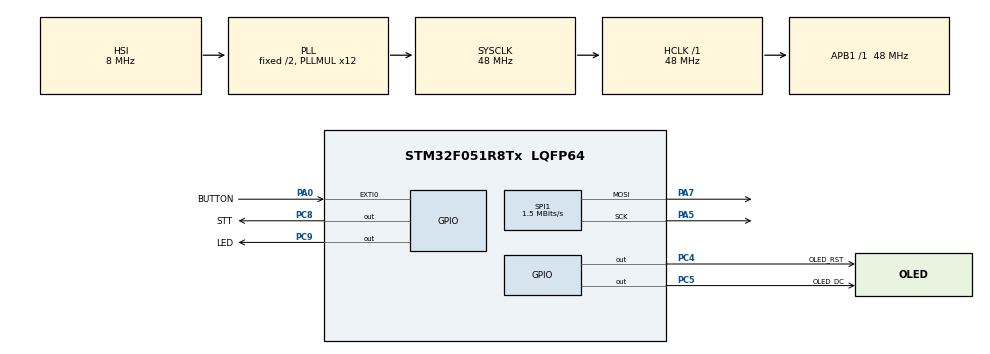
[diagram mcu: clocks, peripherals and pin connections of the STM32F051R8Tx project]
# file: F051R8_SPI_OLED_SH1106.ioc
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Mcu.Family=STM32F0
Dma.SPI1_TX.0.MemInc=DMA_MINC_ENABLE
Dma.SPI1_TX.0.PeriphInc=DMA_PINC_DISABLE
PA7.Mode=TX_Only_Simplex_Unidirect_Master
SPI1.VirtualType=VM_MASTER
PC9.GPIO_Label=LED
PA14.GPIO_Label=SWCLK
PA0.GPIO_Label=BUTTON
PC8.Signal=GPIO_Output
PC4.Signal=GPIO_Output
RCC.SYSCLKSource=RCC_SYSCLKSOURCE_PLLCLK
ProjectManager.StackSize=0x400
PC8.GPIO_Label=STT
PA13.Signal=SYS_SWDIO
ProjectManager.TargetToolchain=STM32CubeIDE
SPI1.Direction=SPI_DIRECTION_2LINES
Dma.SPI1_TX.0.PeriphDataAlignment=DMA_PDATAALIGN_BYTE
RCC.HCLKFreq_Value=48000000
Dma.SPI1_TX.0.Direction=DMA_MEMORY_TO_PERIPH
SPI1.CalculateBaudRate=1.5 MBits/s
RCC.AHBFreq_Value=48000000
PA5.Signal=SPI1_SCK
board=STM32F0DISCOVERY
RCC.PLLMUL=RCC_PLL_MUL12
NVIC.SPI1_IRQn=true\:0\:0\:false\:false\:true\:true\:true
PC4.GPIO_Label=OLED_RST
SPI1.Mode=SPI_MODE_MASTER
PA14.Mode=Serial_Wire
PA0.GPIO_ModeDefaultEXTI=GPIO_MODE_EVT_RISING
SPI1.DataSize=SPI_DATASIZE_8BIT
Dma.SPI1_TX.0.Instance=DMA1_Channel3
PA13.Mode=Serial_Wire
Mcu.Name=STM32F051R8Tx
PA13.GPIO_Label=SWDIO
PA0.Signal=GPXTI0
Dma.SPI1_TX.0.Mode=DMA_NORMAL
RCC.SYSCLKFreq_VALUE=48000000
Mcu.Package=LQFP64
PC5.GPIO_Label=OLED_DC
PA14.Signal=SYS_SWCLK
ProjectManager.HeapSize=0x200
Dma.SPI1_TX.0.Priority=DMA_PRIORITY_LOW
Dma.SPI1_TX.0.MemDataAlignment=DMA_MDATAALIGN_BYTE
NVIC.DMA1_Channel2_3_IRQn=true\:0\:0\:false\:false\:true\:false\:true
RCC.APB1TimFreq_Value=48000000
PC5.Signal=GPIO_Output
PC9.Signal=GPIO_Output
Dma.Request0=SPI1_TX
RCC.APB1Freq_Value=48000000
SPI1.BaudRatePrescaler=SPI_BAUDRATEPRESCALER_32
PA5.Mode=TX_Only_Simplex_Unidirect_Master
PA7.Signal=SPI1_MOSI

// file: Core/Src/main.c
/* USER CODE BEGIN Header */
/**
  ******************************************************************************
  * @file           : main.c
  * @brief          : Main program body
  ******************************************************************************
  * @attention
  *
  * <h2><center>&copy; Copyright (c) 2021 STMicroelectronics.
  * All rights reserved.</center></h2>
  *
  * This software component is licensed by ST under BSD 3-Clause license,
  * the "License"; You may not use this file except in compliance with the
  * License. You may obtain a copy of the License at:
  *                        opensource.org/licenses/BSD-3-Clause
  *
  ******************************************************************************
  */
/* USER CODE END Header */
#include "main.h"

/* USER CODE BEGIN Includes */
#include <stdio.h>
#include <string.h>
#include "sh1106.h"
#include "test_sh1106.h"
/* USER CODE END Includes */

/* USER CODE BEGIN PTD */
//#define USE_SPI_POLLING
//#define USE_SPI_IT
#define USE_SPI_DMA
/* USER CODE END PTD */

SPI_HandleTypeDef hspi1;
DMA_HandleTypeDef hdma_spi1_tx;

/* USER CODE BEGIN PV */
char message[16]; // xxx\0
char fps[] = "fps";

// 'Frame1', 80x32px
const unsigned char Frame1 [] = {
  0x00, 0x00, 0x00, 0x00, 0x00, 0x00, 0x00, 0x00, 0x00, 0x00, 0x00, 0x00, 0x00, 0x00, 0x00, 0x00,
  0x00, 0x00, 0x00, 0x00, 0x00, 0x00, 0x00, 0x00, 0x00, 0x00, 0x00, 0x00, 0x00, 0x00, 0x00, 0x00,
  0x00, 0x00, 0x00, 0x00, 0x00, 0x00, 0x00, 0x00, 0x00, 0x00, 0x00, 0x00, 0x00, 0x00, 0x00, 0x00,
  0x00, 0x00, 0x00, 0x00, 0x00, 0x00, 0x00, 0x00, 0x00, 0x00, 0x00, 0x00, 0x00, 0x00, 0x00, 0x00,
  0x00, 0x00, 0x00, 0x00, 0x00, 0x00, 0x00, 0x00, 0x00, 0x00, 0x00, 0x00, 0x00, 0x00, 0x00, 0x00,
  0x00, 0xff, 0xc0, 0x00, 0x00, 0x00, 0x00, 0x00, 0x00, 0x00, 0x00, 0x00, 0xf8, 0x00, 0x00, 0x00,
  0x00, 0xfe, 0x00, 0x00, 0x00, 0x00, 0x1e, 0x00, 0x00, 0x00, 0x01, 0x83, 0x80, 0x00, 0x00, 0x00,
  0x07, 0x00, 0x00, 0x00, 0x03, 0x00, 0xc0, 0x00, 0x00, 0x00, 0x01, 0xc0, 0x00, 0x00, 0x03, 0x0c,
  0x40, 0x00, 0x00, 0x00, 0x00, 0xff, 0xff, 0xff, 0xe1, 0x0c, 0x60, 0x00, 0x00, 0x00, 0x00, 0xf0,
  0x00, 0x1f, 0xff, 0x80, 0x20, 0x00, 0x00, 0x00, 0x01, 0xe0, 0x00, 0x01, 0xf9, 0xe0, 0x20, 0x00,
  0x00, 0x00, 0x03, 0xc0, 0x00, 0x00, 0xcc, 0x78, 0x60, 0x00, 0x00, 0x03, 0xe7, 0x80, 0x00, 0x00,
  0x64, 0x1f, 0xc0, 0x00, 0x00, 0x0e, 0xff, 0x00, 0x00, 0x00, 0x66, 0x00, 0x00, 0x00, 0x00, 0x1c,
  0x0e, 0x00, 0x00, 0x00, 0x33, 0xf0, 0x00, 0x00, 0x00, 0x30, 0xf8, 0x00, 0x00, 0x00, 0x18, 0x1f,
  0xf0, 0x00, 0x00, 0x7f, 0xf0, 0x00, 0x00, 0x00, 0x08, 0x00, 0x00, 0x00, 0x01, 0xfc, 0x00, 0x00,
  0x00, 0x00, 0x0c, 0x00, 0x00, 0x00, 0x03, 0x80, 0x00, 0x00, 0x00, 0x00, 0x06, 0x00, 0x00, 0x00,
  0x07, 0x00, 0x00, 0x00, 0x00, 0x00, 0x03, 0x00, 0x00, 0x00, 0x0e, 0x00, 0x00, 0x00, 0x00, 0x00,
  0x01, 0x86, 0x00, 0x00, 0x0c, 0x00, 0x00, 0x00, 0x00, 0x00, 0x00, 0xcc, 0x00, 0x00, 0x00, 0x00,
  0x00, 0x00, 0x00, 0x00, 0x00, 0x78, 0x00, 0x00, 0x00, 0x00, 0x00, 0x00, 0x00, 0x00, 0x00, 0x00,
  0x00, 0x00, 0x00, 0x00, 0x00, 0x00, 0x00, 0x00, 0x00, 0x00, 0x00, 0x00, 0x00, 0x00, 0x00, 0x00,
  0x00, 0x00, 0x00, 0x00, 0x00, 0x00, 0x00, 0x00, 0x00, 0x00, 0x00, 0x00, 0x00, 0x00, 0x00, 0x00
};
// 'Frame2', 80x32px
const unsigned char Frame2 [] = {
  0x00, 0x00, 0x00, 0x00, 0x00, 0x00, 0x00, 0x00, 0x00, 0x00, 0x00, 0x00, 0x00, 0x00, 0x00, 0x00,
  0x00, 0x00, 0x00, 0x00, 0x00, 0x00, 0x00, 0x00, 0x00, 0x00, 0x00, 0x00, 0x00, 0x00, 0x00, 0x00,
  0x00, 0x00, 0x00, 0x00, 0x00, 0x00, 0x00, 0x00, 0x00, 0x00, 0x00, 0x00, 0x00, 0x00, 0x00, 0x00,
  0x00, 0x00, 0x00, 0x00, 0x00, 0x00, 0x00, 0x00, 0x00, 0x00, 0x00, 0x00, 0x00, 0x00, 0x00, 0x00,
  0x00, 0x00, 0x00, 0x00, 0x00, 0x00, 0x00, 0x3f, 0xc0, 0x00, 0x00, 0x00, 0x00, 0x00, 0x00, 0x00,
  0x00, 0x70, 0xf8, 0x00, 0x00, 0x00, 0x00, 0x00, 0x00, 0x00, 0x00, 0x00, 0x3c, 0x00, 0x00, 0x00,
  0x00, 0x00, 0x00, 0x00, 0x00, 0x00, 0x0e, 0x00, 0x00, 0x00, 0x03, 0x80, 0x00, 0x00, 0x00, 0x00,
  0x03, 0x80, 0x00, 0x00, 0x0f, 0xf0, 0x00, 0x00, 0x00, 0x00, 0x01, 0xc0, 0x00, 0x00, 0x08, 0x18,
  0x00, 0x00, 0x00, 0x00, 0x00, 0xe0, 0x00, 0x00, 0x18, 0x0c, 0x00, 0x00, 0x00, 0x00, 0x00, 0xfe,
  0x00, 0x00, 0x18, 0x66, 0x00, 0x00, 0x00, 0x00, 0x00, 0xdf, 0xf8, 0x00, 0x08, 0x66, 0x00, 0x00,
  0x00, 0x00, 0x01, 0xb8, 0xff, 0xff, 0xfc, 0x02, 0x00, 0x00, 0x00, 0x00, 0x01, 0xb0, 0x01, 0xfe,
  0x06, 0x02, 0x00, 0x00, 0x00, 0x00, 0x03, 0x60, 0x00, 0x32, 0x03, 0x86, 0x00, 0x00, 0x00, 0x03,
  0xff, 0xc0, 0x00, 0x33, 0x80, 0xfc, 0x00, 0x00, 0x00, 0x07, 0x07, 0x80, 0x00, 0x10, 0xe0, 0x01,
  0x00, 0x00, 0x00, 0x7f, 0xff, 0x00, 0x00, 0x10, 0x38, 0x03, 0x00, 0x00, 0x00, 0x7f, 0xfe, 0x00,
  0x00, 0x18, 0x0f, 0x86, 0x00, 0x00, 0x00, 0xc8, 0x00, 0x00, 0x00, 0x08, 0x00, 0xfc, 0x00, 0x00,
  0x01, 0x80, 0x00, 0x00, 0x00, 0x08, 0x00, 0x00, 0x00, 0x00, 0x03, 0x00, 0x00, 0x00, 0x00, 0x0c,
  0x00, 0x00, 0x00, 0x00, 0x02, 0x00, 0x00, 0x00, 0x00, 0x04, 0x00, 0x00, 0x00, 0x00, 0x00, 0x00,
  0x00, 0x00, 0x00, 0x06, 0x00, 0x00, 0x00, 0x00, 0x00, 0x00, 0x00, 0x00, 0x00, 0x02, 0x00, 0x00,
  0x00, 0x00, 0x00, 0x00, 0x00, 0x00, 0x00, 0x03, 0x06, 0x00, 0x00, 0x00, 0x00, 0x00, 0x00, 0x00,
  0x00, 0x01, 0x8c, 0x00, 0x00, 0x00, 0x00, 0x00, 0x00, 0x00, 0x00, 0x00, 0xf8, 0x00, 0x00, 0x00
};
// 'Frame3', 80x32px
const unsigned char Frame3 [] = {
  0x00, 0x00, 0x00, 0x00, 0x00, 0x00, 0x00, 0x00, 0x00, 0x00, 0x00, 0x00, 0x00, 0x00, 0x00, 0x00,
  0x00, 0x00, 0x00, 0x00, 0x00, 0x00, 0x00, 0x00, 0x00, 0x00, 0x00, 0x00, 0x00, 0x00, 0x00, 0x00,
  0x00, 0x00, 0x00, 0x00, 0x00, 0x00, 0x00, 0x00, 0x00, 0x00, 0x00, 0x00, 0x00, 0x00, 0x00, 0x00,
  0x00, 0x00, 0x00, 0x00, 0x00, 0x00, 0x00, 0x00, 0x00, 0x00, 0x00, 0x00, 0x00, 0x00, 0xfe, 0x00,
  0x00, 0x00, 0x00, 0x00, 0x00, 0x00, 0x00, 0x00, 0x0f, 0x80, 0x00, 0x00, 0x00, 0x00, 0x00, 0x00,
  0x00, 0x00, 0x01, 0xe0, 0x00, 0x00, 0x00, 0x00, 0x00, 0x00, 0x00, 0x00, 0x00, 0x70, 0x00, 0x00,
  0x00, 0x00, 0x00, 0x00, 0x00, 0x00, 0x00, 0x3c, 0x00, 0x00, 0x00, 0x00, 0x00, 0x00, 0x00, 0x00,
  0x00, 0x0e, 0x00, 0x00, 0x07, 0xc0, 0x00, 0x00, 0x00, 0x00, 0x00, 0x07, 0x80, 0x00, 0x0c, 0x30,
  0x00, 0x00, 0x00, 0x00, 0x00, 0x03, 0xc0, 0x00, 0x10, 0x08, 0x00, 0x00, 0x00, 0x00, 0x00, 0x02,
  0xf0, 0x00, 0x10, 0x04, 0x00, 0x00, 0x00, 0x00, 0x00, 0x02, 0xbe, 0x00, 0x18, 0x66, 0x00, 0x00,
  0x00, 0x00, 0x00, 0x07, 0x87, 0xc0, 0x08, 0x62, 0x00, 0x00, 0x00, 0x00, 0x00, 0x05, 0x00, 0xff,
  0xfc, 0x02, 0x00, 0x00, 0x00, 0x00, 0x00, 0x05, 0x00, 0x1f, 0x06, 0x02, 0x00, 0x00, 0x00, 0x00,
  0x00, 0x0e, 0x00, 0x09, 0x03, 0x86, 0x00, 0x00, 0x00, 0x00, 0x3f, 0xfe, 0x00, 0x09, 0x00, 0xfc,
  0x00, 0x00, 0x00, 0x00, 0x6f, 0xfc, 0x00, 0x19, 0x80, 0x00, 0x00, 0x00, 0x00, 0x00, 0x58, 0x00,
  0x00, 0x10, 0x80, 0x00, 0x00, 0x00, 0x00, 0x00, 0xe0, 0x00, 0x00, 0x10, 0x80, 0x00, 0x00, 0x00,
  0x00, 0x00, 0xc0, 0x00, 0x00, 0x30, 0xc0, 0x00, 0x00, 0x00, 0x00, 0x01, 0x80, 0x00, 0x00, 0x20,
  0x70, 0x00, 0x00, 0x00, 0x00, 0x00, 0x00, 0x00, 0x00, 0x20, 0x1c, 0x60, 0x00, 0x00, 0x00, 0x00,
  0x00, 0x00, 0x00, 0x60, 0x07, 0xc0, 0x00, 0x00, 0x00, 0x00, 0x00, 0x00, 0x00, 0x40, 0x00, 0x00,
  0x00, 0x00, 0x00, 0x00, 0x00, 0x00, 0x00, 0x40, 0x00, 0x00, 0x00, 0x00, 0x00, 0x00, 0x00, 0x00,
  0x00, 0x6e, 0x00, 0x00, 0x00, 0x00, 0x00, 0x00, 0x00, 0x00, 0x00, 0x30, 0x00, 0x00, 0x00, 0x00
};
// 'Frame4', 80x32px
const unsigned char Frame4 [] = {
  0x00, 0x00, 0x00, 0x00, 0x00, 0x00, 0x00, 0x00, 0x00, 0x00, 0x00, 0x00, 0x00, 0x00, 0x00, 0x00,
  0x00, 0x00, 0x00, 0x00, 0x00, 0x00, 0x00, 0x00, 0x00, 0x00, 0x00, 0x00, 0x00, 0x00, 0x00, 0x00,
  0x00, 0x00, 0x00, 0x00, 0x00, 0x00, 0x00, 0x00, 0x00, 0x00, 0x00, 0x00, 0x00, 0x00, 0x00, 0x00,
  0x00, 0x00, 0x00, 0x00, 0x00, 0x00, 0x00, 0x00, 0x00, 0x00, 0x00, 0x00, 0x00, 0x00, 0x00, 0x00,
  0x00, 0x00, 0x00, 0x00, 0x00, 0x00, 0x00, 0x00, 0x03, 0x80, 0x00, 0x00, 0x00, 0x00, 0x00, 0x00,
  0x00, 0x00, 0x01, 0x80, 0x00, 0x00, 0x00, 0x00, 0x00, 0x00, 0x00, 0x00, 0x00, 0xe0, 0x00, 0x00,
  0x00, 0x00, 0x00, 0x00, 0x00, 0x00, 0x00, 0x38, 0x00, 0x00, 0x00, 0x00, 0x00, 0x00, 0x00, 0x00,
  0x00, 0x0e, 0x00, 0x00, 0x00, 0x00, 0x00, 0x00, 0x00, 0x00, 0x00, 0x03, 0x80, 0x00, 0x07, 0xe0,
  0x00, 0x00, 0x00, 0x00, 0x00, 0x00, 0xf0, 0x00, 0x0c, 0x38, 0x00, 0x00, 0x00, 0x00, 0x00, 0x00,
  0x3f, 0x00, 0x18, 0x0c, 0x00, 0x00, 0x00, 0x00, 0x00, 0x00, 0x0f, 0xe0, 0x10, 0x66, 0x00, 0x00,
  0x00, 0x00, 0x00, 0x00, 0x0c, 0x3e, 0x10, 0x62, 0x00, 0x00, 0x00, 0x00, 0x00, 0x00, 0x0c, 0x07,
  0xf0, 0x02, 0x00, 0x00, 0x00, 0x00, 0x00, 0x00, 0x0e, 0x00, 0xd8, 0x02, 0x00, 0x00, 0x00, 0x00,
  0x00, 0x00, 0x0a, 0x03, 0xce, 0x06, 0x00, 0x00, 0x00, 0x00, 0x00, 0x00, 0x0a, 0x06, 0x83, 0x84,
  0x00, 0x00, 0x00, 0x00, 0x00, 0x00, 0x7e, 0x0d, 0x80, 0x78, 0x00, 0x00, 0x00, 0x00, 0x00, 0x01,
  0xcc, 0x39, 0x00, 0x00, 0x00, 0x00, 0x00, 0x00, 0x00, 0x03, 0xf8, 0x61, 0x00, 0x00, 0x00, 0x00,
  0x00, 0x00, 0x00, 0x0f, 0x80, 0xc3, 0x00, 0x00, 0x00, 0x00, 0x00, 0x00, 0x00, 0x09, 0x03, 0x82,
  0x00, 0x00, 0x00, 0x00, 0x00, 0x00, 0x00, 0x00, 0x06, 0x02, 0x00, 0x00, 0x00, 0x00, 0x00, 0x00,
  0x00, 0x00, 0x0c, 0x02, 0x00, 0x00, 0x00, 0x00, 0x00, 0x00, 0x00, 0x00, 0x38, 0x02, 0x00, 0x00,
  0x00, 0x00, 0x00, 0x00, 0x00, 0x00, 0x70, 0x03, 0x00, 0x00, 0x00, 0x00, 0x00, 0x00, 0x00, 0x00,
  0x60, 0x01, 0x80, 0x00, 0x00, 0x00, 0x00, 0x00, 0x00, 0x00, 0x78, 0x00, 0xe0, 0x00, 0x00, 0x00
};
// 'Frame5', 80x32px
const unsigned char Frame5 [] = {
  0x00, 0x00, 0x00, 0x00, 0x00, 0x00, 0x00, 0x00, 0x00, 0x00, 0x00, 0x00, 0x00, 0x00, 0x00, 0x00,
  0x00, 0x00, 0x00, 0x00, 0x00, 0x00, 0x00, 0x00, 0x00, 0x00, 0x00, 0x00, 0x00, 0x00, 0x00, 0x00,
  0x00, 0x00, 0x00, 0x00, 0x00, 0x00, 0x00, 0x00, 0x00, 0x00, 0x00, 0x00, 0x00, 0x00, 0x00, 0x00,
  0x00, 0x00, 0x00, 0x00, 0x00, 0x00, 0x00, 0x00, 0x00, 0x00, 0x00, 0x00, 0x00, 0x00, 0x00, 0x00,
  0x00, 0x00, 0x00, 0x00, 0x00, 0x00, 0x00, 0x00, 0x00, 0x00, 0x00, 0x00, 0x00, 0x00, 0x00, 0x00,
  0x00, 0x00, 0x00, 0x00, 0x00, 0x00, 0x00, 0x00, 0x00, 0x00, 0x00, 0x00, 0x00, 0x00, 0x00, 0x00,
  0x00, 0x00, 0x00, 0x00, 0x00, 0x00, 0x00, 0x00, 0x00, 0x00, 0x00, 0x00, 0x00, 0x00, 0x00, 0x00,
  0x00, 0x00, 0x00, 0x00, 0x00, 0x00, 0x00, 0x00, 0x00, 0x00, 0x08, 0x00, 0x00, 0x00, 0x03, 0xf8,
  0x00, 0x00, 0x00, 0x00, 0x0c, 0x00, 0x00, 0xff, 0x0c, 0x06, 0x00, 0x00, 0x00, 0x00, 0x04, 0x00,
  0x03, 0x83, 0xc8, 0x03, 0x00, 0x00, 0x00, 0x00, 0x03, 0x00, 0x06, 0x00, 0xf8, 0x19, 0x00, 0x00,
  0x00, 0x00, 0x01, 0xc0, 0x0c, 0x00, 0xd8, 0x19, 0x80, 0x00, 0x00, 0x00, 0x00, 0x70, 0x18, 0x00,
  0x88, 0x00, 0x80, 0x00, 0x00, 0x00, 0x00, 0x1f, 0xf8, 0x00, 0x8e, 0x00, 0x80, 0x00, 0x00, 0x00,
  0x00, 0x00, 0x1c, 0x01, 0x83, 0x07, 0x00, 0x00, 0x00, 0x00, 0x00, 0x00, 0x0f, 0x01, 0x00, 0xfc,
  0x00, 0x00, 0x00, 0x00, 0x00, 0x00, 0x07, 0xc7, 0x00, 0x00, 0x00, 0x00, 0x00, 0x00, 0x00, 0x00,
  0x02, 0x5e, 0x00, 0x00, 0x00, 0x00, 0x00, 0x00, 0x00, 0x00, 0x03, 0x56, 0x00, 0x00, 0x00, 0x00,
  0x00, 0x00, 0x00, 0x00, 0x01, 0x76, 0x00, 0x00, 0x00, 0x00, 0x00, 0x00, 0x00, 0x00, 0x01, 0xe4,
  0x00, 0x00, 0x00, 0x00, 0x00, 0x00, 0x00, 0x00, 0x01, 0x8c, 0x00, 0x00, 0x00, 0x00, 0x00, 0x00,
  0x00, 0x00, 0x03, 0x08, 0x00, 0x00, 0x00, 0x00, 0x00, 0x00, 0x00, 0x00, 0x06, 0x08, 0x00, 0x00,
  0x00, 0x00, 0x00, 0x00, 0x00, 0x00, 0x04, 0x08, 0x00, 0x00, 0x00, 0x00, 0x00, 0x00, 0x00, 0x00,
  0x0c, 0x08, 0x00, 0x00, 0x00, 0x00, 0x00, 0x00, 0x00, 0x00, 0x08, 0x00, 0x00, 0x00, 0x00, 0x00
};
// 'Frame6', 80x32px
const unsigned char Frame6 [] = {
  0x00, 0x00, 0x00, 0x00, 0x00, 0x00, 0x00, 0x00, 0x00, 0x00, 0x00, 0x00, 0x00, 0x00, 0x00, 0x00,
  0x00, 0x00, 0x00, 0x00, 0x00, 0x00, 0x00, 0x00, 0x00, 0x00, 0x00, 0x00, 0x00, 0x00, 0x00, 0x00,
  0x00, 0x00, 0x00, 0x00, 0x00, 0x00, 0x00, 0x00, 0x00, 0x00, 0x00, 0x00, 0x00, 0x00, 0x00, 0x00,
  0x00, 0x00, 0x00, 0x00, 0x00, 0x00, 0x00, 0x00, 0x00, 0x00, 0x00, 0x00, 0x00, 0x00, 0x00, 0x00,
  0x00, 0x00, 0x00, 0x00, 0x00, 0x00, 0x00, 0x00, 0x00, 0x00, 0x00, 0x00, 0x00, 0x00, 0x00, 0x00,
  0x00, 0x00, 0x00, 0x00, 0x3f, 0x00, 0x00, 0x00, 0x00, 0x00, 0x00, 0x00, 0x00, 0x00, 0x61, 0xc0,
  0x00, 0x00, 0x00, 0x00, 0x00, 0x00, 0x00, 0x00, 0x80, 0x60, 0x00, 0x00, 0x00, 0x00, 0x00, 0x00,
  0x00, 0x01, 0x00, 0x30, 0xff, 0x00, 0x00, 0x00, 0x00, 0x00, 0x00, 0x02, 0x00, 0x19, 0x81, 0xc0,
  0x00, 0x00, 0x00, 0x00, 0x00, 0x02, 0x00, 0x1f, 0x00, 0x60, 0x00, 0x00, 0x00, 0x00, 0x00, 0x06,
  0x00, 0x7e, 0x06, 0x20, 0x00, 0x00, 0x00, 0x00, 0x00, 0x04, 0x00, 0xd2, 0x06, 0x20, 0x00, 0x00,
  0x00, 0x10, 0x00, 0x08, 0x01, 0x92, 0x00, 0x60, 0x00, 0x00, 0x00, 0x10, 0x00, 0x08, 0x01, 0x33,
  0x00, 0xc0, 0x00, 0x00, 0x00, 0x18, 0x00, 0x18, 0x03, 0x61, 0xe3, 0x00, 0x00, 0x00, 0x00, 0x0c,
  0x00, 0x10, 0x03, 0xc0, 0x3c, 0x00, 0x00, 0x00, 0x00, 0x06, 0x00, 0x1f, 0x86, 0xc0, 0x00, 0x00,
  0x00, 0x00, 0x00, 0x03, 0x00, 0x7c, 0xfe, 0x80, 0x00, 0x00, 0x00, 0x00, 0x00, 0x01, 0xc1, 0xc7,
  0xe5, 0x80, 0x00, 0x00, 0x00, 0x00, 0x00, 0x00, 0x7f, 0x80, 0x3f, 0x00, 0x00, 0x00, 0x00, 0x00,
  0x00, 0x00, 0x00, 0x00, 0x1b, 0x99, 0x00, 0x00, 0x00, 0x00, 0x00, 0x00, 0x00, 0x00, 0x3e, 0xf3,
  0x00, 0x00, 0x00, 0x00, 0x00, 0x00, 0x00, 0x00, 0x37, 0xc6, 0x00, 0x00, 0x00, 0x00, 0x00, 0x00,
  0x00, 0x00, 0xdb, 0xec, 0x00, 0x00, 0x00, 0x00, 0x00, 0x00, 0x00, 0x00, 0xf0, 0xb8, 0x00, 0x00,
  0x00, 0x00, 0x00, 0x00, 0x00, 0x01, 0x60, 0x00, 0x00, 0x00, 0x00, 0x00, 0x00, 0x00, 0x00, 0x03,
  0x40, 0x00, 0x00, 0x00, 0x00, 0x00, 0x00, 0x00, 0x00, 0x03, 0x80, 0x00, 0x00, 0x00, 0x00, 0x00
};
// 'Frame7', 80x32px
const unsigned char Frame7 [] = {
  0x00, 0x00, 0x00, 0x00, 0x00, 0x00, 0x00, 0x00, 0x00, 0x00, 0x00, 0x00, 0x00, 0x00, 0x00, 0x00,
  0x00, 0x00, 0x00, 0x00, 0x00, 0x00, 0x00, 0x00, 0x00, 0x00, 0x00, 0x00, 0x00, 0x00, 0x00, 0x00,
  0x00, 0x00, 0x00, 0x00, 0x00, 0x00, 0x00, 0x00, 0x00, 0x00, 0x00, 0x00, 0x00, 0x00, 0x00, 0x00,
  0x00, 0x00, 0x00, 0x00, 0x00, 0x00, 0x00, 0x00, 0x00, 0x00, 0x00, 0x00, 0x00, 0x00, 0x00, 0x00,
  0x00, 0x00, 0x00, 0x00, 0x00, 0x00, 0x00, 0x00, 0x00, 0x00, 0x00, 0x00, 0x00, 0x00, 0x00, 0x00,
  0x00, 0x00, 0x00, 0x00, 0x00, 0x00, 0x00, 0x00, 0x00, 0x00, 0x00, 0x00, 0x00, 0x00, 0x00, 0x3f,
  0xe0, 0x7f, 0x80, 0x00, 0x00, 0x00, 0x00, 0x00, 0x00, 0xe0, 0x79, 0x80, 0x40, 0x00, 0x00, 0x00,
  0x00, 0x00, 0x01, 0xc0, 0x1d, 0x00, 0x20, 0x00, 0x00, 0x00, 0x00, 0x00, 0x03, 0x00, 0x3f, 0x03,
  0x10, 0x00, 0x00, 0x00, 0x00, 0x00, 0x06, 0x00, 0x67, 0x03, 0x10, 0x00, 0x00, 0x00, 0x00, 0x00,
  0x0c, 0x00, 0xc5, 0x80, 0x10, 0x00, 0x00, 0x00, 0x00, 0x00, 0x08, 0x01, 0x84, 0xc0, 0x60, 0x00,
  0x00, 0x00, 0x00, 0x00, 0x18, 0x03, 0x04, 0x7f, 0x80, 0x00, 0x00, 0x00, 0x00, 0x00, 0x30, 0x02,
  0x04, 0x00, 0x00, 0x00, 0x00, 0x00, 0xc0, 0x00, 0x30, 0x01, 0x04, 0x00, 0x00, 0x00, 0x00, 0x00,
  0x70, 0x00, 0xf0, 0x01, 0x04, 0x00, 0x00, 0x00, 0x00, 0x00, 0x1f, 0x0f, 0xfc, 0x01, 0x8c, 0x00,
  0x00, 0x00, 0x00, 0x00, 0x01, 0xf8, 0x3e, 0x00, 0x88, 0x00, 0x00, 0x00, 0x00, 0x00, 0x00, 0x00,
  0x37, 0x00, 0x98, 0x00, 0x00, 0x00, 0x00, 0x00, 0x00, 0x00, 0x21, 0x03, 0x10, 0x00, 0x00, 0x00,
  0x00, 0x00, 0x00, 0x00, 0x21, 0x86, 0x60, 0x00, 0x00, 0x00, 0x00, 0x00, 0x00, 0x00, 0x20, 0xc0,
  0xc0, 0x00, 0x00, 0x00, 0x00, 0x00, 0x00, 0x00, 0x30, 0x43, 0x80, 0x00, 0x00, 0x00, 0x00, 0x00,
  0x00, 0x00, 0x13, 0x60, 0x00, 0x00, 0x00, 0x00, 0x00, 0x00, 0x00, 0x00, 0x0e, 0x32, 0x00, 0x00,
  0x00, 0x00, 0x00, 0x00, 0x00, 0x00, 0x00, 0x1c, 0x00, 0x00, 0x00, 0x00, 0x00, 0x00, 0x00, 0x00,
  0x00, 0x00, 0x00, 0x00, 0x00, 0x00, 0x00, 0x00, 0x00, 0x00, 0x00, 0x00, 0x00, 0x00, 0x00, 0x00
};
// 'Frame8', 80x32px
const unsigned char Frame8 [] = {
  0x00, 0x00, 0x00, 0x00, 0x00, 0x00, 0x00, 0x00, 0x00, 0x00, 0x00, 0x00, 0x00, 0x00, 0x00, 0x00,
  0x00, 0x00, 0x00, 0x00, 0x00, 0x00, 0x00, 0x00, 0x00, 0x00, 0x00, 0x00, 0x00, 0x00, 0x00, 0x00,
  0x00, 0x00, 0x00, 0x00, 0x00, 0x00, 0x00, 0x00, 0x00, 0x00, 0x00, 0x00, 0x00, 0x00, 0x00, 0x00,
  0x00, 0x00, 0x00, 0x00, 0x00, 0x00, 0x00, 0x00, 0x00, 0x07, 0xf0, 0x00, 0x00, 0x00, 0x00, 0x00,
  0x00, 0x00, 0x00, 0x08, 0x0c, 0x00, 0x00, 0x00, 0x00, 0x00, 0x00, 0x00, 0x00, 0x18, 0x06, 0x00,
  0x00, 0x00, 0x00, 0x00, 0x00, 0x00, 0x00, 0x10, 0x62, 0x00, 0x00, 0x00, 0x00, 0x00, 0x00, 0x00,
  0xff, 0xf0, 0x61, 0x00, 0x00, 0x00, 0x00, 0x00, 0x00, 0x03, 0xe3, 0x30, 0x03, 0x00, 0x00, 0x00,
  0x00, 0x00, 0x00, 0x1f, 0x04, 0x18, 0x02, 0x00, 0x00, 0x00, 0x00, 0x00, 0x00, 0x70, 0x18, 0x1f,
  0xfc, 0x00, 0x00, 0x00, 0x00, 0x00, 0x01, 0xc0, 0x60, 0x06, 0x00, 0x00, 0x00, 0x00, 0x00, 0x00,
  0x0f, 0x00, 0xc0, 0x01, 0x80, 0x00, 0x00, 0x00, 0x00, 0x00, 0x0c, 0x00, 0xe0, 0x00, 0x80, 0x00,
  0x00, 0x00, 0x03, 0xff, 0xf8, 0x00, 0x38, 0x01, 0x80, 0x00, 0x00, 0x00, 0x1e, 0x00, 0xf0, 0x00,
  0x1e, 0x01, 0x00, 0x00, 0x00, 0x00, 0x78, 0x01, 0xf0, 0x00, 0x03, 0xc3, 0x00, 0x00, 0x00, 0x00,
  0xc0, 0x03, 0x30, 0x00, 0x00, 0x82, 0x00, 0x00, 0x00, 0x00, 0x00, 0x06, 0x30, 0x00, 0x01, 0x02,
  0x00, 0x00, 0x00, 0x00, 0x00, 0x0c, 0x20, 0x00, 0x06, 0x00, 0x00, 0x00, 0x00, 0x00, 0x00, 0x18,
  0x20, 0x00, 0x00, 0x00, 0x00, 0x00, 0x00, 0x00, 0x00, 0x30, 0x20, 0x00, 0x00, 0x00, 0x00, 0x00,
  0x00, 0x00, 0x00, 0xe0, 0x20, 0x00, 0x00, 0x00, 0x00, 0x00, 0x00, 0x00, 0x03, 0x80, 0x20, 0x00,
  0x00, 0x00, 0x00, 0x00, 0x00, 0x00, 0x02, 0x00, 0x20, 0x00, 0x00, 0x00, 0x00, 0x00, 0x00, 0x00,
  0x0c, 0x00, 0x20, 0x00, 0x00, 0x00, 0x00, 0x00, 0x00, 0x00, 0x38, 0x00, 0x20, 0x00, 0x00, 0x00,
  0x00, 0x00, 0x00, 0x00, 0x20, 0x00, 0x20, 0x00, 0x00, 0x00, 0x00, 0x00, 0x00, 0x00, 0x20, 0x00,
  0x20, 0x00, 0x00, 0x00, 0x00, 0x00, 0x00, 0x00, 0x3f, 0x00, 0x3f, 0x80, 0x00, 0x00, 0x00, 0x00
};
// 'Frame9', 80x32px
const unsigned char Frame9 [] = {
  0x00, 0x00, 0x00, 0x00, 0x00, 0x00, 0x00, 0x00, 0x00, 0x00, 0x00, 0x00, 0x00, 0x00, 0x00, 0x00,
  0x00, 0x00, 0x00, 0x00, 0x00, 0x00, 0x00, 0x00, 0x00, 0x00, 0x00, 0x00, 0x00, 0x00, 0x00, 0x00,
  0x00, 0x00, 0x00, 0x00, 0x00, 0x00, 0x00, 0x00, 0x00, 0x00, 0x00, 0x00, 0x00, 0x00, 0x00, 0x00,
  0x00, 0x00, 0x00, 0x00, 0x00, 0x00, 0x00, 0x00, 0x00, 0x00, 0x00, 0x00, 0x00, 0x00, 0x00, 0x00,
  0x00, 0x00, 0x00, 0x00, 0x00, 0x00, 0x00, 0x00, 0x00, 0x00, 0x00, 0x00, 0x00, 0x0f, 0xf0, 0x00,
  0x00, 0x00, 0x00, 0x00, 0x00, 0x00, 0x00, 0x18, 0x08, 0x00, 0x00, 0x00, 0x00, 0x00, 0x00, 0x00,
  0x00, 0x10, 0x04, 0x00, 0x00, 0x00, 0x00, 0x00, 0x00, 0x00, 0x00, 0x10, 0x32, 0x00, 0x00, 0x00,
  0x00, 0x00, 0x00, 0x7f, 0xff, 0xf8, 0x32, 0x00, 0x00, 0x00, 0x00, 0x00, 0x07, 0xe0, 0x03, 0x88,
  0x02, 0x00, 0x00, 0x01, 0xff, 0x00, 0x3e, 0x00, 0x02, 0xc4, 0x02, 0x00, 0x00, 0x0f, 0x01, 0xf8,
  0xe0, 0x00, 0x06, 0x62, 0x02, 0x00, 0x00, 0x00, 0x00, 0x1f, 0xc0, 0x00, 0x04, 0x39, 0xfc, 0x00,
  0x00, 0x00, 0x00, 0x07, 0x00, 0x00, 0x0c, 0x0e, 0x00, 0x00, 0x00, 0x00, 0x00, 0x1e, 0x00, 0x00,
  0x07, 0xc1, 0x00, 0x00, 0x00, 0x00, 0x00, 0x3c, 0x00, 0x00, 0x00, 0x78, 0x80, 0x00, 0x00, 0x00,
  0x00, 0x6c, 0x00, 0x00, 0x00, 0x0f, 0x80, 0x00, 0x00, 0x00, 0x00, 0xc8, 0x00, 0x00, 0x00, 0x01,
  0x40, 0x00, 0x00, 0x00, 0x03, 0x98, 0x00, 0x00, 0x00, 0x01, 0x40, 0x00, 0x00, 0x00, 0x0e, 0x30,
  0x00, 0x00, 0x00, 0x01, 0x60, 0x00, 0x00, 0x00, 0xf8, 0x60, 0x00, 0x00, 0x00, 0x00, 0x00, 0x00,
  0x00, 0x01, 0x81, 0xc0, 0x00, 0x00, 0x00, 0x00, 0x00, 0x00, 0x00, 0x01, 0x03, 0x00, 0x00, 0x00,
  0x00, 0x00, 0x00, 0x00, 0x00, 0x01, 0x06, 0x00, 0x00, 0x00, 0x00, 0x00, 0x00, 0x00, 0x00, 0x00,
  0x04, 0x00, 0x00, 0x00, 0x00, 0x00, 0x00, 0x00, 0x00, 0x00, 0x0c, 0x00, 0x00, 0x00, 0x00, 0x00,
  0x00, 0x00, 0x00, 0x00, 0x0c, 0x00, 0x00, 0x00, 0x00, 0x00, 0x00, 0x00, 0x00, 0x00, 0x04, 0x00,
  0x00, 0x00, 0x00, 0x00, 0x00, 0x00, 0x00, 0x00, 0x00, 0x00, 0x00, 0x00, 0x00, 0x00, 0x00, 0x00
};
// 'Frame10', 80x32px
const unsigned char Frame10 [] = {
  0x00, 0x00, 0x00, 0x00, 0x00, 0x00, 0x00, 0x00, 0x00, 0x00, 0x00, 0x00, 0x00, 0x00, 0x00, 0x00,
  0x00, 0x00, 0x00, 0x00, 0x00, 0x00, 0x00, 0x00, 0x00, 0x00, 0x00, 0x00, 0x00, 0x00, 0x00, 0x00,
  0x00, 0x00, 0x00, 0x00, 0x00, 0x00, 0x00, 0x00, 0x00, 0x00, 0x00, 0x00, 0x00, 0x00, 0x00, 0x00,
  0x00, 0x00, 0x00, 0x00, 0x00, 0x00, 0x00, 0x00, 0x00, 0x00, 0x00, 0x00, 0x00, 0x00, 0x00, 0x00,
  0x00, 0x00, 0x00, 0x00, 0x00, 0x00, 0x00, 0x00, 0x00, 0x00, 0x00, 0x00, 0x00, 0x00, 0x00, 0x00,
  0x00, 0x00, 0x00, 0x00, 0x00, 0x00, 0x00, 0x03, 0xe0, 0x00, 0x00, 0x7f, 0xc0, 0x00, 0x00, 0x00,
  0x00, 0x0c, 0x18, 0x00, 0x00, 0x00, 0x78, 0x00, 0x00, 0x00, 0x00, 0x08, 0x04, 0x00, 0x00, 0x00,
  0x1e, 0x00, 0x1f, 0xff, 0xf0, 0x10, 0x62, 0x00, 0x00, 0x00, 0x03, 0xc1, 0xf8, 0x00, 0x1f, 0xf8,
  0x62, 0x00, 0x00, 0x00, 0x00, 0x7f, 0x00, 0x00, 0x01, 0xd8, 0x02, 0x00, 0x00, 0x00, 0x00, 0x78,
  0x00, 0x00, 0x00, 0xc4, 0x02, 0x00, 0x00, 0x00, 0x00, 0xe0, 0x00, 0x00, 0x00, 0x63, 0x84, 0x00,
  0x00, 0x00, 0x01, 0xc0, 0x00, 0x00, 0x00, 0x70, 0xf8, 0x00, 0x00, 0x03, 0xff, 0x80, 0x00, 0x00,
  0x00, 0x0c, 0xc0, 0x00, 0x00, 0x1c, 0x06, 0x00, 0x00, 0x00, 0x00, 0x06, 0x3e, 0x00, 0x00, 0x30,
  0x1c, 0x00, 0x00, 0x00, 0x00, 0x03, 0x01, 0x80, 0x00, 0x00, 0x70, 0x00, 0x00, 0x00, 0x00, 0x01,
  0x80, 0x40, 0x00, 0x03, 0xc0, 0x00, 0x00, 0x00, 0x00, 0x00, 0x40, 0x40, 0x00, 0x0e, 0x00, 0x00,
  0x00, 0x00, 0x00, 0x00, 0x30, 0x00, 0x00, 0x78, 0x00, 0x00, 0x00, 0x00, 0x00, 0x00, 0x1c, 0x00,
  0x03, 0xc0, 0x00, 0x00, 0x00, 0x00, 0x00, 0x00, 0x00, 0x00, 0x06, 0x00, 0x00, 0x00, 0x00, 0x00,
  0x00, 0x00, 0x00, 0x00, 0x0c, 0x00, 0x00, 0x00, 0x00, 0x00, 0x00, 0x00, 0x00, 0x00, 0x08, 0x00,
  0x00, 0x00, 0x00, 0x00, 0x00, 0x00, 0x00, 0x00, 0x00, 0x00, 0x00, 0x00, 0x00, 0x00, 0x00, 0x00,
  0x00, 0x00, 0x00, 0x00, 0x00, 0x00, 0x00, 0x00, 0x00, 0x00, 0x00, 0x00, 0x00, 0x00, 0x00, 0x00,
  0x00, 0x00, 0x00, 0x00, 0x00, 0x00, 0x00, 0x00, 0x00, 0x00, 0x00, 0x00, 0x00, 0x00, 0x00, 0x00
};

const unsigned char * frames[] = {
    Frame1, Frame2, Frame3, Frame4, Frame5, Frame6, Frame7, Frame8, Frame9, Frame10
};

// animation loop
uint8_t b = 1;
int16_t m = 72;
int16_t x = SH1106_WIDTH;
int16_t s = 0;
int16_t w = 0;
int16_t h = 0;

int16_t cx = 0;
int16_t cxd = 3;
int16_t cy = 0;
int16_t cyd = 5;
int16_t cr = 6;

/* USER CODE END PV */

void SystemClock_Config(void);
static void MX_GPIO_Init(void);
static void MX_DMA_Init(void);
static void MX_SPI1_Init(void);

/* USER CODE BEGIN 0 */
void HAL_IncTick(void) {
  uwTick += uwTickFreq;
  SH1106_1sec_Tick();
}

void Update_Main_Screen() {
  SH1106_Clear();
  SH1106_SetMask(0, 0, SH1106_WIDTH, SH1106_HEIGHT);

  // draw an animation frame
  SH1106_DrawBitmap(0, 0, frames[b%10], 80, 32, SH1106_WHITE, SH1106_TRANSPARENT);
  b++;

  SH1106_DrawFilledCircle(cx, cy, cr, SH1106_WHITE);
  cx+=cxd;
  if(cx<0 || cx>SH1106_WIDTH) cxd=-cxd;
  cy+=cyd;
  if(cy<0 || cy>SH1106_HEIGHT) cyd=-cyd;

  // draw frame rate
  sprintf(message, "%d", SH1106.FPS);
  SH1106_WriteString(m, 0, message, &Font_11x18, SH1106_WHITE, SH1106_TRANSPARENT);

  w = Font_GetStringWidth(message, &Font_11x18);
  SH1106_WriteString(m+w, 0, fps, &Font_7x10, SH1106_WHITE, SH1106_TRANSPARENT);

  // draw a scrolling text
  sprintf(message, "%2d scrolling", b/10);
  h = Font_GetStringHeight(message, &Font_11x18)+4;
  SH1106_SetMask(m, h, SH1106_WIDTH, h+Font_7x10.height); // text is only visible inside this mask
  SH1106_WriteString(x, h, message, &Font_7x10, SH1106_WHITE, SH1106_TRANSPARENT);

  // scroll text
  w = Font_GetStringWidth(message, &Font_7x10);
  // effect: pause scrolling in one second
  if(x==m+10) {
    s++;
    if (s > SH1106.FPS) {
      s = 0;
      x--;
    }
  } else {
    x--;
    if(x < m-w) x = SH1106_WIDTH;
  }
}

void HAL_SPI_TxCpltCallback(SPI_HandleTypeDef *hspi) {
  Update_Main_Screen();
#ifdef USE_SPI_IT
  SH1106_Screen_Update_IT(hspi);
  HAL_GPIO_TogglePin(LED_GPIO_Port, LED_Pin);
#endif
#ifdef USE_SPI_DMA
  SH1106_Screen_Update_DMA(hspi);
  HAL_GPIO_TogglePin(STT_GPIO_Port, STT_Pin);
#endif
}
/* USER CODE END 0 */

int main(void)
{

  /* MCU Configuration--------------------------------------------------------*/

  /* Reset of all peripherals, Initializes the Flash interface and the Systick. */
  HAL_Init();

  /* Configure the system clock */
  SystemClock_Config();

  /* Initialize all configured peripherals */
  MX_GPIO_Init();
  MX_DMA_Init();
  MX_SPI1_Init();
  /* USER CODE BEGIN 2 */
  HAL_Delay(10);
  SH1106_Init(&hspi1);
  /* USER CODE END 2 */

  /* Infinite loop */
  /* USER CODE BEGIN WHILE */
  /*
  TestLines(&hspi1, SH1106_WHITE);
  HAL_Delay(500);
  TestRectangles(&hspi1, SH1106_WHITE);
  HAL_Delay(500);
  TestFilledRectangles(&hspi1, SH1106_WHITE);
  HAL_Delay(500);
  TestCircles(&hspi1, 6, SH1106_WHITE);
  HAL_Delay(500);
  TestFilledCircles(&hspi1, 6, SH1106_WHITE);
  HAL_Delay(500);
  TestTriangles(&hspi1, SH1106_WHITE);
  HAL_Delay(500);
  TestDynamicBackground(&hspi1, SH1106_WHITE);
  HAL_Delay(500);
  */
#ifdef USE_SPI_IT
  SH1106_Screen_Update_IT(&hspi1);
#endif
#ifdef USE_SPI_DMA
  SH1106_Screen_Update_DMA(&hspi1);
#endif
  while (1)
  {
#ifdef USE_SPI_POLLING
      Update_Main_Screen();
      SH1106_Screen_Update(&hspi1);
      HAL_GPIO_TogglePin(LED_GPIO_Port, LED_Pin);
      HAL_GPIO_TogglePin(STT_GPIO_Port, STT_Pin);
#endif
#ifdef USE_SPI_IT
      HAL_Delay(1000);
#endif
    /* USER CODE END WHILE */

  }
}

void SystemClock_Config(void)
{
  RCC_OscInitTypeDef RCC_OscInitStruct = {0};
  RCC_ClkInitTypeDef RCC_ClkInitStruct = {0};

  /** Initializes the RCC Oscillators according to the specified parameters
  * in the RCC_OscInitTypeDef structure.
  */
  RCC_OscInitStruct.OscillatorType = RCC_OSCILLATORTYPE_HSI;
  RCC_OscInitStruct.HSIState = RCC_HSI_ON;
  RCC_OscInitStruct.HSICalibrationValue = RCC_HSICALIBRATION_DEFAULT;
  RCC_OscInitStruct.PLL.PLLState = RCC_PLL_ON;
  RCC_OscInitStruct.PLL.PLLSource = RCC_PLLSOURCE_HSI;
  RCC_OscInitStruct.PLL.PLLMUL = RCC_PLL_MUL12;
  RCC_OscInitStruct.PLL.PREDIV = RCC_PREDIV_DIV1;
  if (HAL_RCC_OscConfig(&RCC_OscInitStruct) != HAL_OK)
  {
    Error_Handler();
  }
  /** Initializes the CPU, AHB and APB buses clocks
  */
  RCC_ClkInitStruct.ClockType = RCC_CLOCKTYPE_HCLK|RCC_CLOCKTYPE_SYSCLK
                              |RCC_CLOCKTYPE_PCLK1;
  RCC_ClkInitStruct.SYSCLKSource = RCC_SYSCLKSOURCE_PLLCLK;
  RCC_ClkInitStruct.AHBCLKDivider = RCC_SYSCLK_DIV1;
  RCC_ClkInitStruct.APB1CLKDivider = RCC_HCLK_DIV1;

  if (HAL_RCC_ClockConfig(&RCC_ClkInitStruct, FLASH_LATENCY_1) != HAL_OK)
  {
    Error_Handler();
  }
}

static void MX_SPI1_Init(void)
{

  /* SPI1 parameter configuration*/
  hspi1.Instance = SPI1;
  hspi1.Init.Mode = SPI_MODE_MASTER;
  hspi1.Init.Direction = SPI_DIRECTION_2LINES;
  hspi1.Init.DataSize = SPI_DATASIZE_8BIT;
  hspi1.Init.CLKPolarity = SPI_POLARITY_LOW;
  hspi1.Init.CLKPhase = SPI_PHASE_1EDGE;
  hspi1.Init.NSS = SPI_NSS_SOFT;
  hspi1.Init.BaudRatePrescaler = SPI_BAUDRATEPRESCALER_32;
  hspi1.Init.FirstBit = SPI_FIRSTBIT_MSB;
  hspi1.Init.TIMode = SPI_TIMODE_DISABLE;
  hspi1.Init.CRCCalculation = SPI_CRCCALCULATION_DISABLE;
  hspi1.Init.CRCPolynomial = 7;
  hspi1.Init.CRCLength = SPI_CRC_LENGTH_DATASIZE;
  hspi1.Init.NSSPMode = SPI_NSS_PULSE_ENABLE;
  if (HAL_SPI_Init(&hspi1) != HAL_OK)
  {
    Error_Handler();
  }

}

static void MX_DMA_Init(void)
{

  /* DMA controller clock enable */
  __HAL_RCC_DMA1_CLK_ENABLE();

  /* DMA interrupt init */
  /* DMA1_Channel2_3_IRQn interrupt configuration */
  HAL_NVIC_SetPriority(DMA1_Channel2_3_IRQn, 0, 0);
  HAL_NVIC_EnableIRQ(DMA1_Channel2_3_IRQn);

}

static void MX_GPIO_Init(void)
{
  GPIO_InitTypeDef GPIO_InitStruct = {0};

  /* GPIO Ports Clock Enable */
  __HAL_RCC_GPIOA_CLK_ENABLE();
  __HAL_RCC_GPIOC_CLK_ENABLE();

  /*Configure GPIO pin Output Level */
  HAL_GPIO_WritePin(GPIOC, OLED_RST_Pin|OLED_DC_Pin|STT_Pin|LED_Pin, GPIO_PIN_RESET);

  /*Configure GPIO pin : BUTTON_Pin */
  GPIO_InitStruct.Pin = BUTTON_Pin;
  GPIO_InitStruct.Mode = GPIO_MODE_EVT_RISING;
  GPIO_InitStruct.Pull = GPIO_NOPULL;
  HAL_GPIO_Init(BUTTON_GPIO_Port, &GPIO_InitStruct);

  /*Configure GPIO pins : OLED_RST_Pin OLED_DC_Pin STT_Pin LED_Pin */
  GPIO_InitStruct.Pin = OLED_RST_Pin|OLED_DC_Pin|STT_Pin|LED_Pin;
  GPIO_InitStruct.Mode = GPIO_MODE_OUTPUT_PP;
  GPIO_InitStruct.Pull = GPIO_NOPULL;
  GPIO_InitStruct.Speed = GPIO_SPEED_FREQ_LOW;
  HAL_GPIO_Init(GPIOC, &GPIO_InitStruct);

}

void Error_Handler(void)
{
  __disable_irq();
  while (1)
  {
  }
}

/************************ (C) COPYRIGHT STMicroelectronics *****END OF FILE****/
